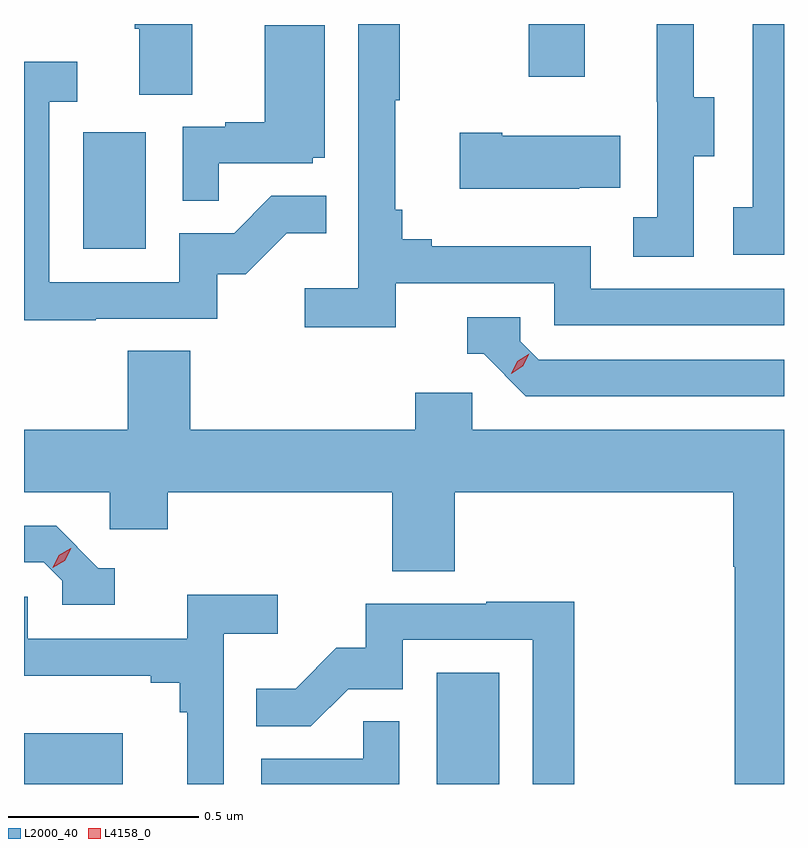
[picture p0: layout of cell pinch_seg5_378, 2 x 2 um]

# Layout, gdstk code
import gdstk
lib = gdstk.Library(unit=1e-6, precision=1e-09)
def R(c, l, rs):  # rectangles x0, y0, x1, y1
    for r in rs: c.add(gdstk.rectangle(r[:2], r[2:], *l))
def P(c, l, *ps):  # polygons
    for p in ps: c.add(gdstk.Polygon(p, *l))
L2000_40 = (2000, 40)
L4158_0 = (4158, 0)

pinch_seg5_378 = lib.new_cell('pinch_seg5_378')
R(pinch_seg5_378, L2000_40, [(989.006,886.628,989.266,886.762), (990.092,886.628,990.256,886.921), (989.162,888.036,989.326,888.343), (990.334,888.489,990.481,888.628)])
P(pinch_seg5_378, L2000_40, [(991.006,888.628),(990.924,888.628),(990.924,888.146),(990.873,888.146),(990.873,888.021),(991.006,888.021)],
  [(989.449,888.628),(989.297,888.628),(989.297,888.616),(989.309,888.616),(989.309,888.442),(989.449,888.442)],
  [(989.984,887.946),(990.402,887.946),(990.402,887.835),(991.006,887.835),(991.006,887.931),(990.498,887.931),(990.498,888.043),(990.079,888.043),(990.079,888.062),(990.002,888.062),(990.002,888.139),(989.983,888.139),(989.983,888.427),(989.995,888.427),(989.995,888.628),(989.886,888.628),(989.886,887.932),(989.745,887.932),(989.745,887.83),(989.984,887.83)],
  [(990.768,888.28),(990.823,888.28),(990.823,888.435),(990.769,888.435),(990.769,888.628),(990.671,888.628),(990.671,888.423),(990.672,888.423),(990.672,888.119),(990.609,888.119),(990.609,888.016),(990.768,888.016)],
  [(989.519,888.261),(989.766,888.261),(989.766,888.276),(989.797,888.276),(989.797,888.625),(989.639,888.625),(989.639,888.37),(989.535,888.37),(989.535,888.357),(989.424,888.357),(989.424,888.163),(989.519,888.163)],
  [(989.195,887.853),(989.514,887.853),(989.514,887.97),(989.59,887.97),(989.697,888.077),(989.801,888.077),(989.801,888.176),(989.657,888.176),(989.559,888.078),(989.415,888.078),(989.415,887.949),(989.073,887.949),(989.073,888.423),(989.146,888.423),(989.146,888.529),(989.006,888.529),(989.006,887.848),(989.195,887.848)],
  [(990.467,888.197),(990.575,888.197),(990.575,888.334),(990.265,888.334),(990.265,888.342),(990.153,888.342),(990.153,888.194),(990.467,888.194)],
  [(991.006,887.745),(990.36,887.745),(990.312,887.793),(990.312,887.856),(990.173,887.856),(990.173,887.76),(990.216,887.76),(990.327,887.649),(991.006,887.649)],
  [(991.006,887.56),(990.186,887.56),(990.186,887.658),(990.035,887.658),(990.035,887.56),(989.444,887.56),(989.444,887.768),(989.279,887.768),(989.279,887.56),(989.006,887.56),(989.006,887.396),(989.232,887.396),(989.232,887.298),(989.384,887.298),(989.384,887.396),(989.975,887.396),(989.975,887.188),(990.14,887.188),(990.14,887.396),(990.872,887.396),(990.872,887.2),(990.877,887.2),(990.877,886.628),(991.006,886.628)],
  [(989.245,887.196),(989.202,887.196),(989.091,887.307),(989.006,887.307),(989.006,887.211),(989.058,887.211),(989.106,887.163),(989.106,887.1),(989.245,887.1)],
  [(989.532,887.024),(989.674,887.024),(989.674,887.126),(989.435,887.126),(989.435,887.01),(989.016,887.01),(989.016,887.121),(989.006,887.121),(989.006,886.913),(989.339,886.913),(989.339,886.894),(989.416,886.894),(989.416,886.817),(989.435,886.817),(989.435,886.628),(989.532,886.628)],
  [(990.454,887.108),(990.223,887.108),(990.223,887.103),(989.905,887.103),(989.905,886.986),(989.828,886.986),(989.721,886.879),(989.617,886.879),(989.617,886.78),(989.761,886.78),(989.859,886.878),(990.003,886.878),(990.003,887.007),(990.345,887.007),(990.345,886.628),(990.454,886.628)],
  [(989.994,886.793),(989.899,886.793),(989.899,886.695),(989.63,886.695),(989.63,886.628),(989.994,886.628)])
P(pinch_seg5_378, L4158_0, [(989.082,887.197),(989.082,887.197),(989.098,887.23),(989.129,887.248),(989.13,887.248),(989.13,887.248),(989.113,887.216),(989.082,887.197)],
  [(990.288,887.708),(990.288,887.708),(990.304,887.74),(990.335,887.76),(990.335,887.76),(990.335,887.76),(990.319,887.727),(990.288,887.708)])

lib.write_gds('pinch_seg5_378.gds')
